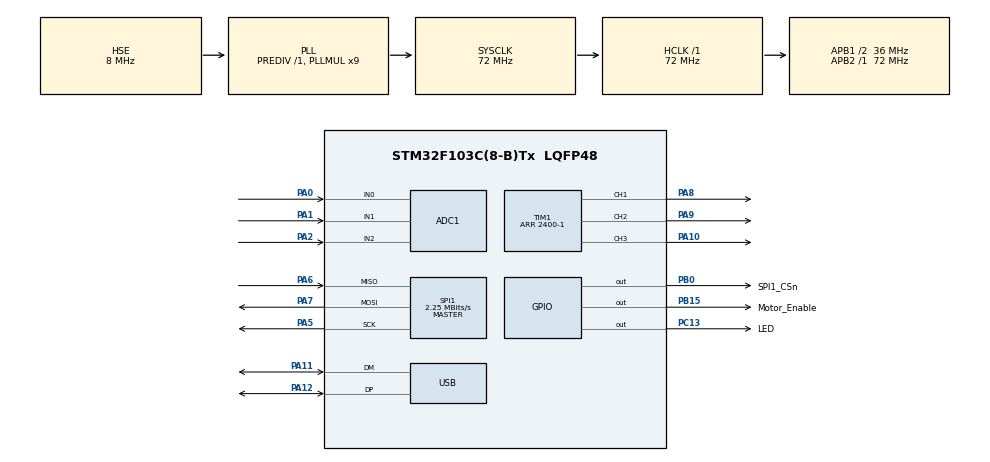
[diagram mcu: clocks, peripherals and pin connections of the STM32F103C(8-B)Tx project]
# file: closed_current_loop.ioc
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ADC1.Channel-0\#ChannelRegularConversion=ADC_CHANNEL_0
ADC1.Channel-1\#ChannelRegularConversion=ADC_CHANNEL_1
ADC1.Channel-2\#ChannelRegularConversion=ADC_CHANNEL_2
ADC1.NbrOfConversion=3
ADC1.NbrOfConversionFlag=1
ADC1.Rank-0\#ChannelRegularConversion=1
ADC1.Rank-1\#ChannelRegularConversion=2
ADC1.Rank-2\#ChannelRegularConversion=3
ADC1.SamplingTime-0\#ChannelRegularConversion=ADC_SAMPLETIME_28CYCLES_5
ADC1.SamplingTime-1\#ChannelRegularConversion=ADC_SAMPLETIME_28CYCLES_5
ADC1.SamplingTime-2\#ChannelRegularConversion=ADC_SAMPLETIME_28CYCLES_5
ADC1.master=1
Mcu.Family=STM32F1
Mcu.Name=STM32F103C(8-B)Tx
Mcu.Package=LQFP48
NVIC.PriorityGroup=NVIC_PRIORITYGROUP_4
NVIC.TIM2_IRQn=true\:0\:0\:false\:false\:true\:true\:true\:true
NVIC.USB_LP_CAN1_RX0_IRQn=true\:0\:0\:false\:false\:true\:false\:true\:true
PA0-WKUP.Signal=ADCx_IN0
PA1.Signal=ADCx_IN1
PA10.Signal=S_TIM1_CH3
PA11.Mode=Device
PA11.Signal=USB_DM
PA12.Mode=Device
PA12.Signal=USB_DP
PA2.Signal=ADCx_IN2
PA5.Mode=Full_Duplex_Master
PA5.Signal=SPI1_SCK
PA6.GPIO_PuPd=GPIO_PULLUP
PA6.Mode=Full_Duplex_Master
PA6.Signal=SPI1_MISO
PA7.Mode=Full_Duplex_Master
PA7.Signal=SPI1_MOSI
PA8.Signal=S_TIM1_CH1
PA9.Signal=S_TIM1_CH2
PB0.GPIO_Label=SPI1_CSn
PB0.GPIO_Speed=GPIO_SPEED_FREQ_HIGH
PB0.PinState=GPIO_PIN_SET
PB0.Signal=GPIO_Output
PB15.GPIO_Label=Motor_Enable
PB15.Signal=GPIO_Output
PC13-TAMPER-RTC.GPIO_Label=LED
PC13-TAMPER-RTC.Signal=GPIO_Output
PD0-OSC_IN.Mode=HSE-External-Oscillator
PD0-OSC_IN.Signal=RCC_OSC_IN
PD1-OSC_OUT.Mode=HSE-External-Oscillator
PD1-OSC_OUT.Signal=RCC_OSC_OUT
ProjectManager.HeapSize=0x200
ProjectManager.StackSize=0x400
ProjectManager.TargetToolchain=STM32CubeIDE
RCC.ADCPresc=RCC_ADCPCLK2_DIV6
RCC.AHBFreq_Value=72000000
RCC.APB1CLKDivider=RCC_HCLK_DIV2
RCC.APB1Freq_Value=36000000
RCC.APB1TimFreq_Value=72000000
RCC.APB2Freq_Value=72000000
RCC.APB2TimFreq_Value=72000000
RCC.HCLKFreq_Value=72000000
RCC.PLLMUL=RCC_PLL_MUL9
RCC.PLLSourceVirtual=RCC_PLLSOURCE_HSE
RCC.SYSCLKFreq_VALUE=72000000
RCC.SYSCLKSource=RCC_SYSCLKSOURCE_PLLCLK
RCC.USBFreq_Value=48000000
RCC.USBPrescaler=RCC_USBCLKSOURCE_PLL_DIV1_5
SH.ADCx_IN0.0=ADC1_IN0,IN0
SH.ADCx_IN1.0=ADC1_IN1,IN1
SH.ADCx_IN2.0=ADC1_IN2,IN2
SH.S_TIM1_CH1.0=TIM1_CH1,PWM Generation1 CH1
SH.S_TIM1_CH2.0=TIM1_CH2,PWM Generation2 CH2
SH.S_TIM1_CH3.0=TIM1_CH3,PWM Generation3 CH3
SPI1.BaudRatePrescaler=SPI_BAUDRATEPRESCALER_32
SPI1.CalculateBaudRate=2.25 MBits/s
SPI1.DataSize=SPI_DATASIZE_16BIT
SPI1.Direction=SPI_DIRECTION_2LINES
SPI1.Mode=SPI_MODE_MASTER
SPI1.VirtualType=VM_MASTER
TIM1.Channel-PWM\ Generation1\ CH1=TIM_CHANNEL_1
TIM1.Channel-PWM\ Generation2\ CH2=TIM_CHANNEL_2
TIM1.Channel-PWM\ Generation3\ CH3=TIM_CHANNEL_3
TIM1.Period=2400-1
TIM2.Period=4000-1
TIM2.Prescaler=90-1
USB_DEVICE.CLASS_NAME_FS=CDC
USB_DEVICE.PRODUCT_STRING_CDC_FS=STM32 Virtual Port
USB_DEVICE.VirtualMode=Cdc
USB_DEVICE.VirtualModeFS=Cdc_FS
VP_SYS_VS_ND.Mode=No_Debug
VP_TIM1_VS_ClockSourceINT.Mode=Internal
VP_TIM2_VS_ClockSourceINT.Mode=Internal
VP_USB_DEVICE_VS_USB_DEVICE_CDC_FS.Mode=CDC_FS
board=custom

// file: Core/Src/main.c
/* USER CODE BEGIN Header */
/* USER CODE END Header */
#include "main.h"
#include "usb_device.h"

/* USER CODE BEGIN Includes */
#include <math.h>
#include "usbd_cdc_if.h"
#include "string.h"
#include "as5048a.h"
#include "pid.h"
#include "lowpass_filter.h"
#include "current_sense.h"

/* USER CODE END Includes */

ADC_HandleTypeDef hadc1;

SPI_HandleTypeDef hspi1;

TIM_HandleTypeDef htim1;
TIM_HandleTypeDef htim2;

void SystemClock_Config(void);
static void MX_GPIO_Init(void);
static void MX_SPI1_Init(void);
static void MX_TIM1_Init(void);
static void MX_TIM2_Init(void);
static void MX_ADC1_Init(void);

/* USER CODE BEGIN 0 */
char data[50];

float open_loop_timestamp=0;
float zero_electric_angle=0;
float shaft_angle=0;
float voltage_limit=12;
float voltage_power_supply=12;
int period=2400; // period for the PWM
int dir=1; // anti clockwise direction is 1 , clockwise is -1
int pole_pairs=11;
int index1=0;
uint16_t raw1,raw2,raw3;
float motor_target= M_PI/6;
float Ts=5E-3f;
float Kp=0.167f;
float angle_prev=-1.0f;
float target_vel=5;
uint16_t ADC_VAL[3];
uint16_t current_offset[3];
double current_phase[3];
const int adc_range=4095;
const double Vref=3.3;    // Voltage
const double Rsense=0.33; // Ohm
//const double KV= 2375.0/12.0; //KV number (RPM is 2149 - 2375, when operating voltage is 12V)

struct LowPassFilter filter= {.Tf=0.01,.y_prev=0.0f}; //Tf=10ms
struct LowPassFilter filter_current= {.Tf=0.05,.y_prev=0.0f}; //Tf=5ms
// limit=voltage_power_supply/2;
struct PIDController pid_controller = {.P=0.5,.I=0.1,.D=0.0,.output_ramp=100.0,.limit=6,.error_prev=0,.output_prev=0,.integral_prev=0};

struct PIDController pid_controller_current = {.P=1.0,.I=0.1,.D=0.0,.output_ramp=100.0,.limit=6,.error_prev=0,.output_prev=0,.integral_prev=0};

float cal_angular_vel(float angle_now){
    if (angle_prev < 0){
    	angle_prev=angle_now;
    	return 0;
    }
    float delta_angle=angle_now -angle_prev;
    if (delta_angle >= 1.6*M_PI){
    	delta_angle-=2*M_PI;
    }
    if (delta_angle <= -1.6*M_PI){
        	delta_angle+=2*M_PI;
    }
    angle_prev=angle_now;
    return delta_angle/Ts;

}
float cal_Iq(double* current_phase, float angle_el){
	 angle_el = _normalizeAngle(angle_el + zero_electric_angle);
	 float I_alpha=current_phase[0];
	 float I_beta=_1_SQRT3*(2*current_phase[1]+current_phase[0]);
//	 float Iq=-sin(angle_el)*I_alpha+cos(angle_el)*I_beta;
//	 float Id=cos(angle_el)*I_alpha+sin(angle_el)*I_beta;
	 return -sin(angle_el)*I_alpha+cos(angle_el)*I_beta;
}

/* USER CODE END 0 */

int main(void)
{

  /* MCU Configuration--------------------------------------------------------*/

  /* Reset of all peripherals, Initializes the Flash interface and the Systick. */
  HAL_Init();

  /* Configure the system clock */
  SystemClock_Config();

  /* Initialize all configured peripherals */
  MX_GPIO_Init();
  MX_SPI1_Init();
  MX_USB_DEVICE_Init();
  MX_TIM1_Init();
  MX_TIM2_Init();
  MX_ADC1_Init();
  /* USER CODE BEGIN 2 */
  HAL_GPIO_WritePin(Motor_Enable_GPIO_Port, Motor_Enable_Pin, GPIO_PIN_SET);
  HAL_TIM_PWM_Start(&htim1, TIM_CHANNEL_1);
  HAL_TIM_PWM_Start(&htim1, TIM_CHANNEL_2);
  HAL_TIM_PWM_Start(&htim1, TIM_CHANNEL_3);
  calibrateOffsets(hadc1,&current_offset);
  setPhaseVoltage(3,0,_electricalAngle(M_PI*1.5f,pole_pairs),TIM1);
  HAL_Delay(3000);
  uint16_t read_raw=read(&hspi1, SPI1_CSn_GPIO_Port,SPI1_CSn_Pin,AS5048A_ANGLE);
  zero_electric_angle=_electricalAngle(M_PI*read_raw/MAX_ANGLE_VALUE,pole_pairs);
  setPhaseVoltage(0,0,_electricalAngle(M_PI*1.5f,pole_pairs),TIM1);
  sprintf(data, "zero_electric_angle: %i \n", (int) floor(zero_electric_angle/M_PI*180));
  CDC_Transmit_FS((uint8_t*) data, strlen(data));
  HAL_TIM_Base_Start_IT(&htim2);
  /* USER CODE END 2 */

  /* Infinite loop */
  while (1)
    {

    }
}

void SystemClock_Config(void)
{
  RCC_OscInitTypeDef RCC_OscInitStruct = {0};
  RCC_ClkInitTypeDef RCC_ClkInitStruct = {0};
  RCC_PeriphCLKInitTypeDef PeriphClkInit = {0};

  /** Initializes the RCC Oscillators according to the specified parameters
  * in the RCC_OscInitTypeDef structure.
  */
  RCC_OscInitStruct.OscillatorType = RCC_OSCILLATORTYPE_HSE;
  RCC_OscInitStruct.HSEState = RCC_HSE_ON;
  RCC_OscInitStruct.HSEPredivValue = RCC_HSE_PREDIV_DIV1;
  RCC_OscInitStruct.HSIState = RCC_HSI_ON;
  RCC_OscInitStruct.PLL.PLLState = RCC_PLL_ON;
  RCC_OscInitStruct.PLL.PLLSource = RCC_PLLSOURCE_HSE;
  RCC_OscInitStruct.PLL.PLLMUL = RCC_PLL_MUL9;
  if (HAL_RCC_OscConfig(&RCC_OscInitStruct) != HAL_OK)
  {
    Error_Handler();
  }

  /** Initializes the CPU, AHB and APB buses clocks
  */
  RCC_ClkInitStruct.ClockType = RCC_CLOCKTYPE_HCLK|RCC_CLOCKTYPE_SYSCLK
                              |RCC_CLOCKTYPE_PCLK1|RCC_CLOCKTYPE_PCLK2;
  RCC_ClkInitStruct.SYSCLKSource = RCC_SYSCLKSOURCE_PLLCLK;
  RCC_ClkInitStruct.AHBCLKDivider = RCC_SYSCLK_DIV1;
  RCC_ClkInitStruct.APB1CLKDivider = RCC_HCLK_DIV2;
  RCC_ClkInitStruct.APB2CLKDivider = RCC_HCLK_DIV1;

  if (HAL_RCC_ClockConfig(&RCC_ClkInitStruct, FLASH_LATENCY_2) != HAL_OK)
  {
    Error_Handler();
  }
  PeriphClkInit.PeriphClockSelection = RCC_PERIPHCLK_ADC|RCC_PERIPHCLK_USB;
  PeriphClkInit.AdcClockSelection = RCC_ADCPCLK2_DIV6;
  PeriphClkInit.UsbClockSelection = RCC_USBCLKSOURCE_PLL_DIV1_5;
  if (HAL_RCCEx_PeriphCLKConfig(&PeriphClkInit) != HAL_OK)
  {
    Error_Handler();
  }
}

static void MX_ADC1_Init(void)
{

  ADC_ChannelConfTypeDef sConfig = {0};

  /** Common config
  */
  hadc1.Instance = ADC1;
  hadc1.Init.ScanConvMode = ADC_SCAN_ENABLE;
  hadc1.Init.ContinuousConvMode = DISABLE;
  hadc1.Init.DiscontinuousConvMode = DISABLE;
  hadc1.Init.ExternalTrigConv = ADC_SOFTWARE_START;
  hadc1.Init.DataAlign = ADC_DATAALIGN_RIGHT;
  hadc1.Init.NbrOfConversion = 3;
  if (HAL_ADC_Init(&hadc1) != HAL_OK)
  {
    Error_Handler();
  }

  /** Configure Regular Channel
  */
  sConfig.Channel = ADC_CHANNEL_0;
  sConfig.Rank = ADC_REGULAR_RANK_1;
  sConfig.SamplingTime = ADC_SAMPLETIME_28CYCLES_5;
  if (HAL_ADC_ConfigChannel(&hadc1, &sConfig) != HAL_OK)
  {
    Error_Handler();
  }

  /** Configure Regular Channel
  */
  sConfig.Channel = ADC_CHANNEL_1;
  sConfig.Rank = ADC_REGULAR_RANK_2;
  if (HAL_ADC_ConfigChannel(&hadc1, &sConfig) != HAL_OK)
  {
    Error_Handler();
  }

  /** Configure Regular Channel
  */
  sConfig.Channel = ADC_CHANNEL_2;
  sConfig.Rank = ADC_REGULAR_RANK_3;
  if (HAL_ADC_ConfigChannel(&hadc1, &sConfig) != HAL_OK)
  {
    Error_Handler();
  }

}

static void MX_SPI1_Init(void)
{

  /* SPI1 parameter configuration*/
  hspi1.Instance = SPI1;
  hspi1.Init.Mode = SPI_MODE_MASTER;
  hspi1.Init.Direction = SPI_DIRECTION_2LINES;
  hspi1.Init.DataSize = SPI_DATASIZE_16BIT;
  hspi1.Init.CLKPolarity = SPI_POLARITY_LOW;
  hspi1.Init.CLKPhase = SPI_PHASE_1EDGE;
  hspi1.Init.NSS = SPI_NSS_SOFT;
  hspi1.Init.BaudRatePrescaler = SPI_BAUDRATEPRESCALER_32;
  hspi1.Init.FirstBit = SPI_FIRSTBIT_MSB;
  hspi1.Init.TIMode = SPI_TIMODE_DISABLE;
  hspi1.Init.CRCCalculation = SPI_CRCCALCULATION_DISABLE;
  hspi1.Init.CRCPolynomial = 10;
  if (HAL_SPI_Init(&hspi1) != HAL_OK)
  {
    Error_Handler();
  }

}

static void MX_TIM1_Init(void)
{

  TIM_ClockConfigTypeDef sClockSourceConfig = {0};
  TIM_MasterConfigTypeDef sMasterConfig = {0};
  TIM_OC_InitTypeDef sConfigOC = {0};
  TIM_BreakDeadTimeConfigTypeDef sBreakDeadTimeConfig = {0};

  htim1.Instance = TIM1;
  htim1.Init.Prescaler = 0;
  htim1.Init.CounterMode = TIM_COUNTERMODE_UP;
  htim1.Init.Period = 2400-1;
  htim1.Init.ClockDivision = TIM_CLOCKDIVISION_DIV1;
  htim1.Init.RepetitionCounter = 0;
  htim1.Init.AutoReloadPreload = TIM_AUTORELOAD_PRELOAD_DISABLE;
  if (HAL_TIM_Base_Init(&htim1) != HAL_OK)
  {
    Error_Handler();
  }
  sClockSourceConfig.ClockSource = TIM_CLOCKSOURCE_INTERNAL;
  if (HAL_TIM_ConfigClockSource(&htim1, &sClockSourceConfig) != HAL_OK)
  {
    Error_Handler();
  }
  if (HAL_TIM_PWM_Init(&htim1) != HAL_OK)
  {
    Error_Handler();
  }
  sMasterConfig.MasterOutputTrigger = TIM_TRGO_RESET;
  sMasterConfig.MasterSlaveMode = TIM_MASTERSLAVEMODE_DISABLE;
  if (HAL_TIMEx_MasterConfigSynchronization(&htim1, &sMasterConfig) != HAL_OK)
  {
    Error_Handler();
  }
  sConfigOC.OCMode = TIM_OCMODE_PWM1;
  sConfigOC.Pulse = 0;
  sConfigOC.OCPolarity = TIM_OCPOLARITY_HIGH;
  sConfigOC.OCNPolarity = TIM_OCNPOLARITY_HIGH;
  sConfigOC.OCFastMode = TIM_OCFAST_DISABLE;
  sConfigOC.OCIdleState = TIM_OCIDLESTATE_RESET;
  sConfigOC.OCNIdleState = TIM_OCNIDLESTATE_RESET;
  if (HAL_TIM_PWM_ConfigChannel(&htim1, &sConfigOC, TIM_CHANNEL_1) != HAL_OK)
  {
    Error_Handler();
  }
  if (HAL_TIM_PWM_ConfigChannel(&htim1, &sConfigOC, TIM_CHANNEL_2) != HAL_OK)
  {
    Error_Handler();
  }
  if (HAL_TIM_PWM_ConfigChannel(&htim1, &sConfigOC, TIM_CHANNEL_3) != HAL_OK)
  {
    Error_Handler();
  }
  sBreakDeadTimeConfig.OffStateRunMode = TIM_OSSR_DISABLE;
  sBreakDeadTimeConfig.OffStateIDLEMode = TIM_OSSI_DISABLE;
  sBreakDeadTimeConfig.LockLevel = TIM_LOCKLEVEL_OFF;
  sBreakDeadTimeConfig.DeadTime = 0;
  sBreakDeadTimeConfig.BreakState = TIM_BREAK_DISABLE;
  sBreakDeadTimeConfig.BreakPolarity = TIM_BREAKPOLARITY_HIGH;
  sBreakDeadTimeConfig.AutomaticOutput = TIM_AUTOMATICOUTPUT_DISABLE;
  if (HAL_TIMEx_ConfigBreakDeadTime(&htim1, &sBreakDeadTimeConfig) != HAL_OK)
  {
    Error_Handler();
  }
  HAL_TIM_MspPostInit(&htim1);

}

static void MX_TIM2_Init(void)
{

  TIM_ClockConfigTypeDef sClockSourceConfig = {0};
  TIM_MasterConfigTypeDef sMasterConfig = {0};

  htim2.Instance = TIM2;
  htim2.Init.Prescaler = 90-1;
  htim2.Init.CounterMode = TIM_COUNTERMODE_UP;
  htim2.Init.Period = 4000-1;
  htim2.Init.ClockDivision = TIM_CLOCKDIVISION_DIV1;
  htim2.Init.AutoReloadPreload = TIM_AUTORELOAD_PRELOAD_DISABLE;
  if (HAL_TIM_Base_Init(&htim2) != HAL_OK)
  {
    Error_Handler();
  }
  sClockSourceConfig.ClockSource = TIM_CLOCKSOURCE_INTERNAL;
  if (HAL_TIM_ConfigClockSource(&htim2, &sClockSourceConfig) != HAL_OK)
  {
    Error_Handler();
  }
  sMasterConfig.MasterOutputTrigger = TIM_TRGO_RESET;
  sMasterConfig.MasterSlaveMode = TIM_MASTERSLAVEMODE_DISABLE;
  if (HAL_TIMEx_MasterConfigSynchronization(&htim2, &sMasterConfig) != HAL_OK)
  {
    Error_Handler();
  }

}

static void MX_GPIO_Init(void)
{
  GPIO_InitTypeDef GPIO_InitStruct = {0};

  /* GPIO Ports Clock Enable */
  __HAL_RCC_GPIOC_CLK_ENABLE();
  __HAL_RCC_GPIOD_CLK_ENABLE();
  __HAL_RCC_GPIOA_CLK_ENABLE();
  __HAL_RCC_GPIOB_CLK_ENABLE();

  /*Configure GPIO pin Output Level */
  HAL_GPIO_WritePin(LED_GPIO_Port, LED_Pin, GPIO_PIN_RESET);

  /*Configure GPIO pin Output Level */
  HAL_GPIO_WritePin(SPI1_CSn_GPIO_Port, SPI1_CSn_Pin, GPIO_PIN_SET);

  /*Configure GPIO pin Output Level */
  HAL_GPIO_WritePin(Motor_Enable_GPIO_Port, Motor_Enable_Pin, GPIO_PIN_RESET);

  /*Configure GPIO pin : LED_Pin */
  GPIO_InitStruct.Pin = LED_Pin;
  GPIO_InitStruct.Mode = GPIO_MODE_OUTPUT_PP;
  GPIO_InitStruct.Pull = GPIO_NOPULL;
  GPIO_InitStruct.Speed = GPIO_SPEED_FREQ_LOW;
  HAL_GPIO_Init(LED_GPIO_Port, &GPIO_InitStruct);

  /*Configure GPIO pin : SPI1_CSn_Pin */
  GPIO_InitStruct.Pin = SPI1_CSn_Pin;
  GPIO_InitStruct.Mode = GPIO_MODE_OUTPUT_PP;
  GPIO_InitStruct.Pull = GPIO_NOPULL;
  GPIO_InitStruct.Speed = GPIO_SPEED_FREQ_HIGH;
  HAL_GPIO_Init(SPI1_CSn_GPIO_Port, &GPIO_InitStruct);

  /*Configure GPIO pin : Motor_Enable_Pin */
  GPIO_InitStruct.Pin = Motor_Enable_Pin;
  GPIO_InitStruct.Mode = GPIO_MODE_OUTPUT_PP;
  GPIO_InitStruct.Pull = GPIO_NOPULL;
  GPIO_InitStruct.Speed = GPIO_SPEED_FREQ_LOW;
  HAL_GPIO_Init(Motor_Enable_GPIO_Port, &GPIO_InitStruct);

}

/* USER CODE BEGIN 4 */
void HAL_TIM_PeriodElapsedCallback(TIM_HandleTypeDef *htim)
{
  // Check which version of the timer triggered this callback and toggle LED
  if (htim == &htim2 )
  {

    index1+=1;
    uint16_t read_raw=read(&hspi1, SPI1_CSn_GPIO_Port,SPI1_CSn_Pin,AS5048A_ANGLE);
    float angle_now=(float)read_raw /(float)MAX_ANGLE_VALUE *2*M_PI*dir;

//    close loop position control
//    float angle_error=motor_target-angle_now;
//
//    angle_error=_normalizeAngle(angle_error);
//    if (angle_error > M_PI){
//    	angle_error-=2*M_PI;
//    }
//    setPhaseVoltage(_constrain(Kp*(angle_error)/M_PI*180,-voltage_power_supply/2,voltage_power_supply/2),0,_electricalAngle(angle_now,pole_pairs),TIM1);
//    sprintf(data, "angle_error : %i \n", (int) floor(angle_error/M_PI*180));
//       CDC_Transmit_FS((uint8_t*) data, strlen(data));
    //    open loop speed control
//        velocityOpenloop(5,5.5,TIM1);
//    closed loop speed control
    float angular_vel=cal_angular_vel(angle_now);
    float filtered_vel=LowPassFilter_operator(angular_vel,&filter);
    float velo_controller_out=PID_operator(target_vel-filtered_vel,&pid_controller);
    read_ADC_voltage(hadc1,ADC_VAL);
    for (int i=0;i<3;i++){
       	current_phase[i] =(float)  ( ADC_VAL[i]-current_offset[i])/(float) adc_range*Vref/Rsense;
    }

    float Iq=cal_Iq(current_phase, _electricalAngle(angle_now, pole_pairs));
    float filtered_Iq=LowPassFilter_operator(Iq,&filter_current);

    float current_controller_output=PID_operator(velo_controller_out-filtered_Iq,&pid_controller_current);

    setPhaseVoltage(_constrain(current_controller_output,-voltage_power_supply/2,voltage_power_supply/2),  0, _electricalAngle(angle_now, pole_pairs),TIM1);
//    sprintf(data, "angle_now : %i \t angle_prev : %i \n", (int) floor(angle_now/M_PI*180), (int) floor(angle_prev/M_PI*180));
//    CDC_Transmit_FS((uint8_t*) data, strlen(data));
    sprintf(data, "angular_vel : %i \n", (int) floor(angular_vel/M_PI*180));
    CDC_Transmit_FS((uint8_t*) data, strlen(data));
//    sprintf(data, "open loop control \n");
//    sprintf(data, "angle: %u \n", read_raw);
//    CDC_Transmit_FS((uint8_t*) data, strlen(data));
//    sprintf(data, "angle_now : %i \n", (int) floor(angle_now*180/M_PI));
//        CDC_Transmit_FS((uint8_t*) data, strlen(data));

    if (index1 == 200){
    	HAL_GPIO_TogglePin(LED_GPIO_Port, LED_Pin);
    	index1=0;
    }
  }
}
/* USER CODE END 4 */

void Error_Handler(void)
{
}
